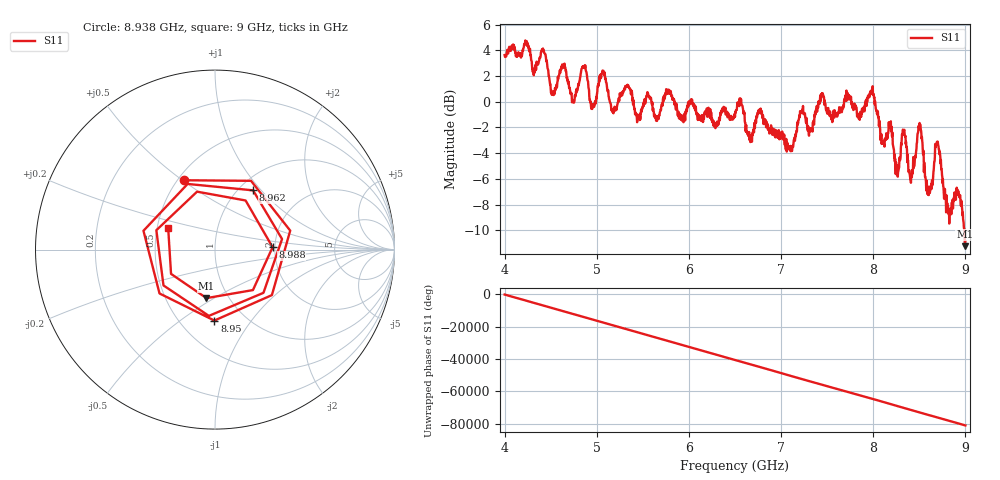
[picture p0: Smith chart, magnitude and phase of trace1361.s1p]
! Created with skrf 1.8.0 (http://scikit-rf.org).
# Hz S RI R 50.0
!freq ReS11 ImS11
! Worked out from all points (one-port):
!   1601 points, 4 GHz to 9 GHz, reference 50 ohm
!   lowest |S11| = -11.2 dB at 8.994 GHz (marker M1), VSWR 1.76, Z = 39.5 - j23.1 ohm
!   |S11| at or under -10 dB: 8.989214 GHz to end of sweep
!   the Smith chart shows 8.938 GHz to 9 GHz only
!   S11 on the Smith chart (normalised r, x): 8.938 GHz: 0.54, +0.51; 8.95 GHz: 0.73, -0.68; 8.962 GHz: 1.16, +0.90; 8.988 GHz: 1.94, +0.06; 9 GHz: 0.57, +0.15
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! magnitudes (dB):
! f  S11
! 4 GHz  3.6
! 4.419 GHz  4.0
! 4.525 GHz  0.7
! 4.625 GHz  2.9
! 4.741 GHz  0.1
! 4.856 GHz  2.8
! 4.95 GHz  -0.6
! 5.062 GHz  2.4
! 5.25 GHz  0.6
! 5.875 GHz  -0.7
! 6.5 GHz  -1.2
! 7.125 GHz  -3.4
! 7.222 GHz  -0.8
! 7.75 GHz  0.2
! 7.988 GHz  1.0
! 8.256 GHz  -5.3
! 8.325 GHz  -2.3
! 8.375 GHz  -4.7
! 8.503 GHz  -1.7
! 8.597 GHz  -6.7
! 8.697 GHz  -3.1
! 8.812 GHz  -8.1
! 8.938 GHz  -7.5
! 8.95 GHz  -8.1
! 8.962 GHz  -8.1
! 8.988 GHz  -9.9
! 8.994 GHz  -11.2
! 9 GHz  -10.9
